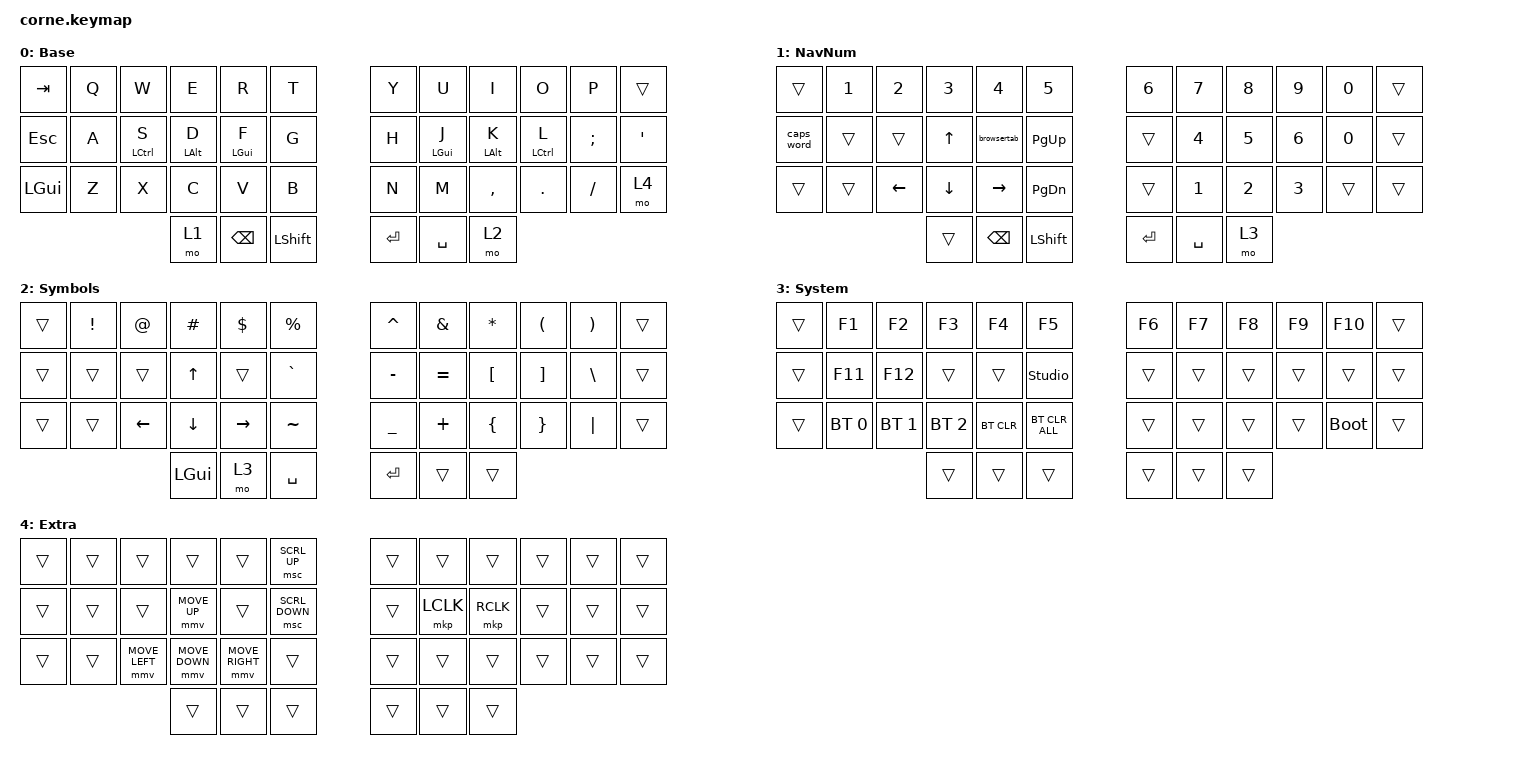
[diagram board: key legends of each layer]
#include <behaviors.dtsi>
#include <dt-bindings/zmk/bt.h>
#include <dt-bindings/zmk/keys.h>
#include <dt-bindings/zmk/pointing.h>

#define DEF 0
#define NAV 1
#define SYM 2
#define ADJ 3
#define EXTRA 4

/ {
    behaviors {
        // home-row mods, bilateral: a mod on the left hand only fires with a key on the
        // right hand or a thumb (and vice versa), so same-hand rolls never become modifiers.
        // tunables: tapping-term-ms (hold threshold), require-prior-idle-ms (roll guard).
        hml: homerow_mods_left {
            compatible = "zmk,behavior-hold-tap";
            #binding-cells = <2>;
            flavor = "balanced";
            tapping-term-ms = <200>;
            quick-tap-ms = <180>;
            require-prior-idle-ms = <150>;
            bindings = <&kp>, <&kp>;
            hold-trigger-key-positions = <6 7 8 9 10 11 18 19 20 21 22 23 30 31 32 33 34 35 36 37 38 39 40 41>;
            hold-trigger-on-release;
        };

        hmr: homerow_mods_right {
            compatible = "zmk,behavior-hold-tap";
            #binding-cells = <2>;
            flavor = "balanced";
            tapping-term-ms = <200>;
            quick-tap-ms = <180>;
            require-prior-idle-ms = <150>;
            bindings = <&kp>, <&kp>;
            hold-trigger-key-positions = <0 1 2 3 4 5 12 13 14 15 16 17 24 25 26 27 28 29 36 37 38 39 40 41>;
            hold-trigger-on-release;
        };

        para: para {
            compatible = "zmk,behavior-tap-dance";
            #binding-cells = <0>;
            bindings = <&kp LEFT_PARENTHESIS>, <&kp RIGHT_PARENTHESIS>;
        };

        caps: caps {
            compatible = "zmk,behavior-caps-word";
            #binding-cells = <0>;
            continue-list = <MINUS BACKSPACE>;
        };

        paraless: paraless {
            compatible = "zmk,behavior-mod-morph";
            bindings = <&kp LEFT_PARENTHESIS>, <&kp LESS_THAN>;

            #binding-cells = <0>;
            mods = <(MOD_LSFT)>;
        };

        paragreat: paragreat {
            compatible = "zmk,behavior-mod-morph";
            bindings = <&kp RIGHT_PARENTHESIS>, <&kp GREATER_THAN>;

            #binding-cells = <0>;
            mods = <(MOD_LSFT)>;
        };
    };

    macros {
        browsertab: browsertab {
            compatible = "zmk,behavior-macro";
            #binding-cells = <0>;
            bindings =
                <&macro_press>,
                <&kp LCTRL>,
                <&macro_tap>,
                <&kp TAB>,
                <&macro_release>,
                <&kp LCTRL>;
        };

    };

    combos {
        compatible = "zmk,combos";

        escape {
            bindings = <&kp ESCAPE>;
            key-positions = <13 29>;
        };

        delete {
            bindings = <&kp DELETE>;
            key-positions = <15 21>;
        };

        perc {
            bindings = <&kp PERCENT>;
            key-positions = <5 17>;
            layers = <0>;
        };

        equal {
            bindings = <&kp EQUAL>;
            key-positions = <28 16>;
            layers = <0>;
        };

        dollar {
            bindings = <&kp DOLLAR>;
            key-positions = <4 16>;
            layers = <0>;
        };

        pound {
            bindings = <&kp POUND>;
            key-positions = <3 15>;
            layers = <0>;
        };

        at {
            bindings = <&kp AT>;
            key-positions = <2 14>;
            layers = <0>;
        };

        backslash {
            bindings = <&kp BACKSLASH>;
            key-positions = <26 14>;
            layers = <0>;
        };

        star {
            bindings = <&kp STAR>;
            key-positions = <8 20>;
            layers = <0>;
        };

        slash {
            bindings = <&kp SLASH>;
            key-positions = <32 20>;
            layers = <0>;
        };

        plus {
            bindings = <&kp PLUS>;
            key-positions = <7 19>;
            layers = <0>;
        };

        minus {
            bindings = <&kp KP_MINUS>;
            key-positions = <31 19>;
            layers = <0>;
        };

        underscore {
            bindings = <&kp UNDER>;
            key-positions = <30 18>;
            layers = <0>;
        };

        leftbrack {
            bindings = <&kp LEFT_BRACKET>;
            key-positions = <31 32>;
            layers = <0>;
        };

        rightbrack {
            bindings = <&kp RIGHT_BRACKET>;
            key-positions = <33 32>;
            layers = <0>;
        };

        para-less {
            bindings = <&paraless>;
            key-positions = <20 19>;
            layers = <0>;
        };

        para-great {
            bindings = <&paragreat>;
            key-positions = <20 21>;
            layers = <0>;
        };
    };

    //

    keymap {
        compatible = "zmk,keymap";

        DEF {
            display-name = "Base";

            // left mods are used on both hands on purpose: keyd maps leftmeta to the cmd layer
            // and rightmeta to super, so RGUI on the right hand would turn j into super.
            // -----------------------------------------------------------------------------------------
            // | TAB  |  Q  |  W  |  E  |  R  |  T  |   |  Y  |  U  |  I  |  O  |  P  |  ▽  |
            // | ESC  |  A  | S^  | D⌥  | F⌘  |  G  |   |  H  | J⌘  | K⌥  | L^  |  ;  |  '  |
            // | CMD  |  Z  |  X  |  C  |  V  |  B  |   |  N  |  M  |  ,  |  .  |  /  | L4  |
            //                    | L1  | BSP | SHF |   | RET | SPC | L2  |

            bindings = <
&kp TAB   &kp Q  &kp W         &kp E         &kp R         &kp T        &kp Y    &kp U         &kp I         &kp O         &kp P     &trans
&kp ESC   &kp A  &hml LCTRL S  &hml LALT D   &hml LGUI F   &kp G        &kp H    &hmr LGUI J   &hmr LALT K   &hmr LCTRL L  &kp SEMI  &kp SQT
&kp LGUI  &kp Z  &kp X         &kp C         &kp V         &kp B        &kp N    &kp M         &kp COMMA     &kp DOT       &kp FSLH  &mo 4
                               &mo 1         &kp BSPC      &kp LSHFT    &kp RET  &kp SPACE     &mo 2
            >;
        };

        NAV {
            display-name = "NavNum";

            // -----------------------------------------------------------------------------------------
            // |  ▽   |  1  |  2  |  3  |  4  |  5  |   |  6  |  7  |  8  |  9  |  0  |  ▽  |
            // | CAPW |  ▽  |  ▽  | UP  | TAB⇄| PGU |   |  ▽  |  4  |  5  |  6  |  0  |  ▽  |
            // |  ▽   |  ▽  | LFT | DWN | RGT | PGD |   |  ▽  |  1  |  2  |  3  |  ▽  |  ▽  |
            //                    |  ▽  | BSP | SHF |   | RET | SPC | L3  |

            bindings = <
&trans      &kp N1  &kp N2    &kp N3    &kp N4       &kp N5       &kp N6   &kp N7     &kp N8  &kp N9  &kp N0  &trans
&caps_word  &trans  &trans    &kp UP    &browsertab  &kp PG_UP    &trans   &kp N4     &kp N5  &kp N6  &kp N0  &trans
&trans      &trans  &kp LEFT  &kp DOWN  &kp RIGHT    &kp PG_DN    &trans   &kp N1     &kp N2  &kp N3  &trans  &trans
                              &trans    &kp BSPC     &kp LSHFT    &kp RET  &kp SPACE  &mo 3
            >;
        };

        SYM {
            display-name = "Symbols";

            // -----------------------------------------------------------------------------------------
            // |  TAB |  !  |  @  |  #  |  $  |  %  |   |  ^  |  &  |  *  |  (  |  )  | BKSP |
            // | CTRL |     |     |     |     |     |   |  -  |  =  |  [  |  ]  |  \  |  `   |
            // | SHFT |     |     |     |     |     |   |  _  |  +  |  {  |  }  | "|" |  ~   |
            //                    | GUI |     | SPC |   | ENT |     | ALT |

            bindings = <
&trans  &kp EXCL  &kp AT          &kp HASH        &kp DLLR         &kp PRCNT    &kp CARET  &kp AMPS   &kp ASTRK  &kp LEFT_PARENTHESIS  &kp RPAR  &trans
&trans  &trans    &trans          &kp UP_ARROW    &trans           &kp GRAVE    &kp MINUS  &kp EQUAL  &kp LBKT   &kp RBKT              &kp BSLH  &trans
&trans  &trans    &kp LEFT_ARROW  &kp DOWN_ARROW  &kp RIGHT_ARROW  &kp TILDE    &kp UNDER  &kp PLUS   &kp LBRC   &kp RBRC              &kp PIPE  &trans
                                  &kp LGUI        &mo 3           &kp SPACE    &kp RET    &trans     &trans
            >;
        };

        ADJ {
            display-name = "System";
            bindings = <
&trans  &kp F1        &kp F2        &kp F3        &kp F4      &kp F5            &kp F6  &kp F7  &kp F8  &kp F9  &kp F10      &trans
&trans  &kp F11       &kp F12       &trans        &trans      &studio_unlock            &trans  &trans  &trans  &trans  &trans       &trans
&trans  &bt BT_SEL 0  &bt BT_SEL 1  &bt BT_SEL 2  &bt BT_CLR  &bt BT_CLR_ALL    &trans  &trans  &trans  &trans  &bootloader  &trans
                                    &trans        &trans      &trans            &trans  &trans  &trans
            >;
        };
        EXTRA {
                display-name = "Extra";
            bindings = <
&trans  &trans       &trans         &trans          &trans      &msc SCRL_UP    &trans  &trans  &trans  &trans  &trans      &trans
&trans  &trans       &trans        &mmv MOVE_UP      &trans   &msc SCRL_DOWN            &trans  &mkp LCLK  &mkp RCLK  &trans  &trans       &trans
&trans  &trans       &mmv MOVE_LEFT   &mmv MOVE_DOWN  &mmv MOVE_RIGHT  &trans    &trans  &trans  &trans  &trans  &trans  &trans
                                     &trans        &trans      &trans            &trans  &trans  &trans
            >;
        };

        // empty layers reserved for zmk studio: ignored in normal builds,
        // selectable with "add layer" in studio-enabled builds (CONFIG_ZMK_STUDIO=y).

        extra1 {
            status = "reserved";
        };

        extra2 {
            status = "reserved";
        };

        extra3 {
            status = "reserved";
        };

        extra4 {
            status = "reserved";
        };

        extra5 {
            status = "reserved";
        };
    };

};
    
